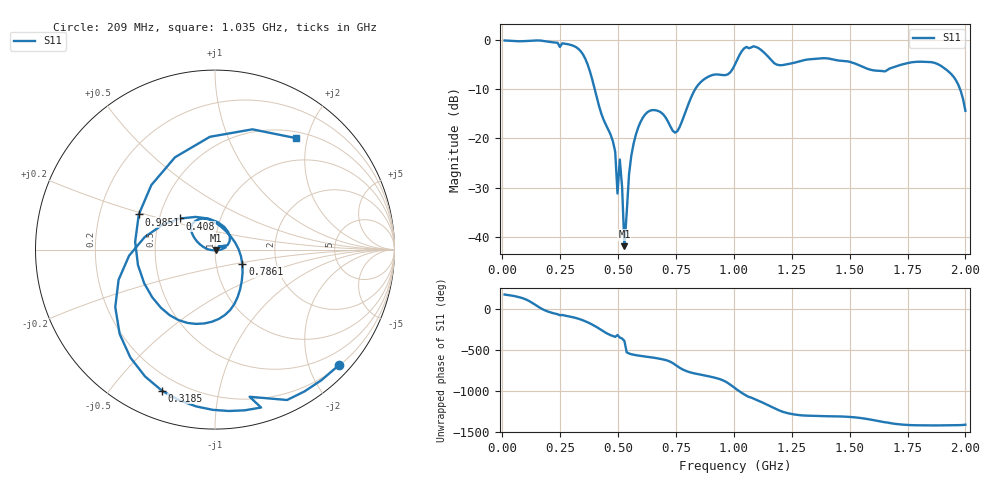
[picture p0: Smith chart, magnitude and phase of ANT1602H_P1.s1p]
!Created with skrf (http://scikit-rf.org).
# Hz S RI R 50.0
!freq ReS11 ImS11
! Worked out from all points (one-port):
!   201 points, 10 MHz to 2 GHz, reference 50 ohm
!   lowest |S11| = -41.8 dB at 527.4 MHz (marker M1), VSWR 1.02, Z = 50.7 - j0.42 ohm
!   |S11| at or under -10 dB: 399.1 MHz to 833.7 MHz (434.6 MHz wide, 70.5 % of centre); 1.977 GHz to end of sweep
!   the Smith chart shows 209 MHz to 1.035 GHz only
!   S11 on the Smith chart (normalised r, x): 209 MHz: 0.21, -2.53; 318.4 MHz: 0.13, -0.68; 408 MHz: 0.64, +0.24; 786.1 MHz: 1.34, -0.22; 985.1 MHz: 0.38, +0.19; 1.035 GHz: 0.60, +1.80
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1e7  -0.9779 0.0701
7.965e7  -0.721 0.6373
1.294e8  0.2661 0.9404
1.692e8  0.973 0.0691
2.09e8  0.6922 -0.6423
2.5875e8  0.2568 -0.88
3.1845e8  -0.2965 -0.7854
3.5825e8  -0.5557 -0.3205
4.08e8  -0.1944 0.1733
4.876e8  0.0692 0.0241
4.9755e8  0.0207 0.0184
5.075e8  0.0598 0.0122
5.274e8  0.00695 -0.00414
5.5725e8  -0.0652 0.015
5.9705e8  -0.1232 0.0797
7.5625e8  0.1112 0.0408
7.861e8  0.1524 -0.0799
9.055e8  -0.1545 -0.4083
9.851e8  -0.4246 0.1956
1.005e9  -0.2227 0.5145
1.03485e9  0.4499 0.6213
1.0846e9  0.8296 -0.2105
1.13435e9  0.1739 -0.7041
1.1841e9  -0.4478 -0.3359
1.25375e9  -0.5262 0.2386
1.5025e9  -0.3093 0.5069
1.75125e9  0.5305 0.2316
2e9  0.1687 0.0875
